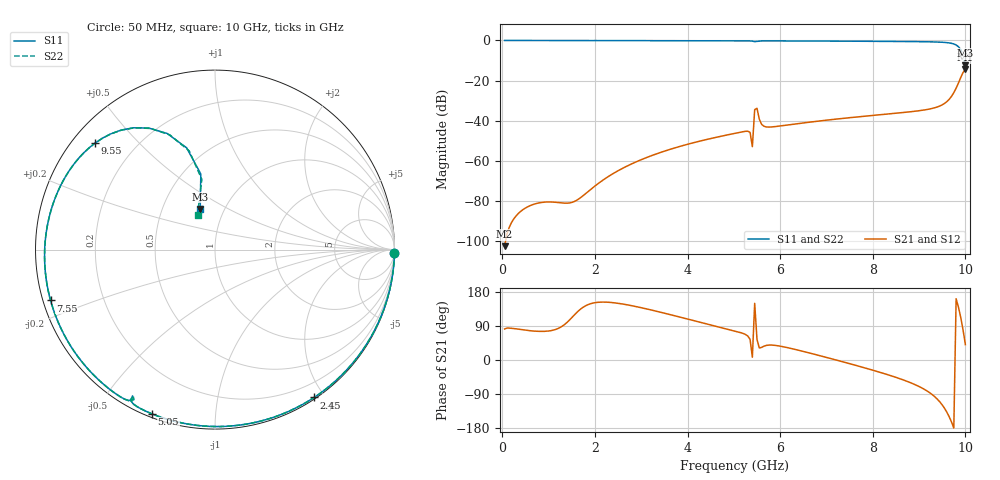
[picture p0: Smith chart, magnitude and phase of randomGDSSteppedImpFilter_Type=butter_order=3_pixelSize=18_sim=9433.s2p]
! freq	dB(S11)	phase(S11)	dB(S12)	phase(S12)
!  dB(S21)	phase(S21)	dB(S22)	phase(S22)
!S-par simulation data
#  GHz  S  DB  R 50
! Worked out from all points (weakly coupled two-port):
!   200 points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, 50 MHz to 10 GHz, reference 50 ohm
!   highest |S21| = -14.45 dB at 10 GHz (marker M1); lowest = -102.6 dB at 50 MHz (marker M2)
!   lowest |S11| = -12.3 dB at 10 GHz (marker M3), VSWR 1.64, Z = 38.5 + j18.6 ohm
!   |S11| at or under -10 dB: 9.976505 GHz to end of sweep
!   |S22| runs from -13.3 to 0.0 dB; largest |S21 - S12| = 0
!   S11 on the Smith chart (normalised r, x): 50 MHz: 0, -97; 2.45 GHz: 0.02, -1.88; 5.05 GHz: 0.01, -0.69; 7.55 GHz: 0.02, -0.15; 9.55 GHz: 0.06, +0.38; 10 GHz: 0.77, +0.37
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0.05  -0.00 -1.2  -102.57 81.9  -102.57 81.9  -0.00 -1.2
1.55  -0.05 -36.0  -80.35 118.1  -80.35 118.1  -0.05 -36.0
1.75  -0.05 -40.5  -77.30 139.6  -77.30 139.6  -0.05 -40.5
2.45  -0.07 -56.1  -65.61 150.4  -65.61 150.4  -0.07 -56.1
3.4  -0.10 -76.7  -55.97 126.6  -55.97 126.6  -0.10 -76.6
5.05  -0.17 -111.0  -46.18 75.4  -46.18 75.4  -0.17 -111.0
5.35  -0.23 -117.8  -45.81 54.5  -45.81 54.5  -0.24 -117.8
5.4  -0.33 -119.3  -52.95 7.4  -52.95 7.4  -0.34 -119.3
5.45  -0.58 -119.4  -34.49 149.5  -34.49 149.5  -0.59 -119.2
5.5  -0.45 -118.5  -33.81 54.3  -33.81 54.3  -0.43 -118.4
5.55  -0.27 -119.8  -39.26 31.7  -39.26 31.7  -0.27 -119.7
5.6  -0.23 -121.1  -41.82 33.2  -41.82 33.2  -0.23 -121.1
5.7  -0.22 -123.5  -43.11 38.5  -43.11 38.5  -0.22 -123.4
6.7  -0.28 -144.4  -40.56 16.4  -40.56 16.4  -0.28 -144.4
7.55  -0.36 -162.8  -38.39 -11.3  -38.39 -11.3  -0.36 -162.8
8.35  -0.47 178.2  -36.63 -39.8  -36.63 -39.8  -0.47 178.3
9.05  -0.61 158.6  -34.88 -73.1  -34.88 -73.1  -0.61 158.6
9.55  -0.97 138.4  -31.39 -127.5  -31.39 -127.5  -0.98 138.2
9.7  -1.43 128.4  -27.88 -163.6  -27.88 -163.6  -1.46 128.0
9.85  -3.10 112.4  -21.21 139.4  -21.21 139.4  -3.26 111.5
9.95  -7.36 100.6  -15.96 79.1  -15.96 79.1  -7.99 100.6
10  -12.34 109.9  -14.45 40.5  -14.45 40.5  -13.26 116.6
